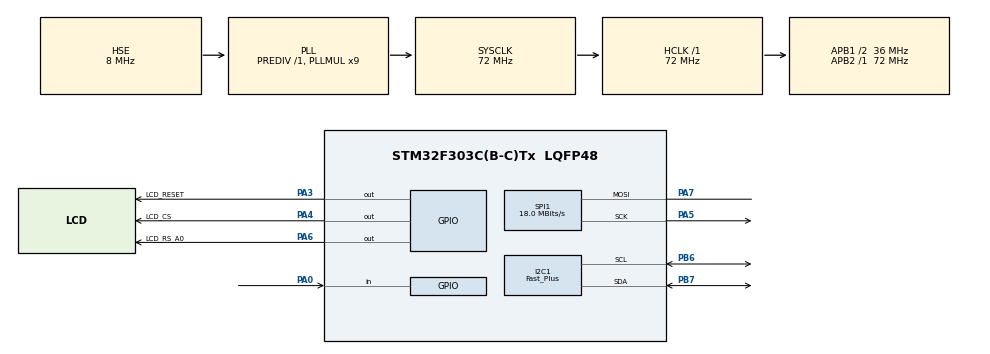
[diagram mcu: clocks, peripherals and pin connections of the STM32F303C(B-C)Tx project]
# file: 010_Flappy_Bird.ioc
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I2C1.I2C_Speed_Mode=I2C_Fast_Plus
I2C1.Timing=0x00000001
Mcu.Family=STM32F3
Mcu.Name=STM32F303C(B-C)Tx
Mcu.Package=LQFP48
NVIC.PriorityGroup=NVIC_PRIORITYGROUP_4
PA0.Signal=GPIO_Input
PA13.Mode=Trace_Asynchronous_SW
PA13.Signal=SYS_JTMS-SWDIO
PA14.Mode=Trace_Asynchronous_SW
PA14.Signal=SYS_JTCK-SWCLK
PA3.GPIO_Label=LCD_RESET
PA3.Signal=GPIO_Output
PA4.GPIO_Label=LCD_CS
PA4.Signal=GPIO_Output
PA5.Mode=Simplex_Bidirectional_Master
PA5.Signal=SPI1_SCK
PA6.GPIO_Label=LCD_RS_A0
PA6.Signal=GPIO_Output
PA7.Mode=Simplex_Bidirectional_Master
PA7.Signal=SPI1_MOSI
PB3.Mode=Trace_Asynchronous_SW
PB3.Signal=SYS_JTDO-TRACESWO
PB6.Mode=I2C
PB6.Signal=I2C1_SCL
PB7.Mode=I2C
PB7.Signal=I2C1_SDA
PF0-OSC_IN.Mode=HSE-External-Oscillator
PF0-OSC_IN.Signal=RCC_OSC_IN
PF1-OSC_OUT.Mode=HSE-External-Oscillator
PF1-OSC_OUT.Signal=RCC_OSC_OUT
ProjectManager.HeapSize=0x200
ProjectManager.StackSize=0x400
ProjectManager.TargetToolchain=STM32CubeIDE
RCC.AHBFreq_Value=72000000
RCC.APB1CLKDivider=RCC_HCLK_DIV2
RCC.APB1Freq_Value=36000000
RCC.APB1TimFreq_Value=72000000
RCC.APB2Freq_Value=72000000
RCC.APB2TimFreq_Value=72000000
RCC.CortexFreq_Value=72000000
RCC.HCLKFreq_Value=72000000
RCC.HSE_VALUE=8000000
RCC.HSI_VALUE=8000000
RCC.LSE_VALUE=32768
RCC.PLLMUL=RCC_PLL_MUL9
RCC.PLLSourceVirtual=RCC_PLLSOURCE_HSE
RCC.SYSCLKFreq_VALUE=72000000
RCC.SYSCLKSourceVirtual=RCC_SYSCLKSOURCE_PLLCLK
RCC.USBFreq_Value=72000000
SPI1.BaudRatePrescaler=SPI_BAUDRATEPRESCALER_4
SPI1.CalculateBaudRate=18.0 MBits/s
SPI1.DataSize=SPI_DATASIZE_8BIT
SPI1.Direction=SPI_DIRECTION_1LINE
SPI1.Mode=SPI_MODE_MASTER
SPI1.VirtualType=VM_MASTER
board=custom

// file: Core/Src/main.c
/* USER CODE BEGIN Header */
/**
  ******************************************************************************
  * @file           : main.c
  * @brief          : Main program body
  ******************************************************************************
  * @attention
  *
  * Copyright (c) 2024 STMicroelectronics.
  * All rights reserved.
  *
  * This software is licensed under terms that can be found in the LICENSE file
  * in the root directory of this software component.
  * If no LICENSE file comes with this software, it is provided AS-IS.
  *
  ******************************************************************************
  */
/* USER CODE END Header */
#include "main.h"

/* USER CODE BEGIN Includes */
#include <string.h>
#include <stdio.h>
#include "mpu6050.h"
#include "player.h"
#include "background.h"
#include "obstacle.h"
#include "text_mssg.h"

#include "../../GC9A01A/font.h"
#include "../../GC9A01A/GC9A01A.h"
/* USER CODE END Includes */

/* USER CODE BEGIN PTD */
#define DB_SIZE 					(15UL * 1024UL)

uint8_t bsp_db[DB_SIZE];
uint8_t bsp_wb[DB_SIZE];

bsp_lcd_t lcd_handle;
bsp_lcd_t *hlcd = &lcd_handle;

/* USER CODE END PTD */

I2C_HandleTypeDef hi2c1;
SPI_HandleTypeDef hspi1;

/* USER CODE BEGIN PV */
double degreex, degreey;
int collision_detected = false;
int countdown_complete = false;
/* USER CODE END PV */

void SystemClock_Config(void);
static void MX_GPIO_Init(void);
static void MX_SPI1_Init(void);
static void MX_I2C1_Init(void);
/* USER CODE BEGIN PFP */
void is_Collide(Obstacle *obstacle, Player *player);
void nano_lcd_Init(void);
void tick();
/* USER CODE END PFP */

/* USER CODE BEGIN 0 */
GamteState game_state ;
Player player;
Obstacle obstacle;

static void Player_ctor(Player* player, int player_x, int player_w, int player_y, int player_h) {
	player->x = player_x;
	player->w = player_w;
	player->y = player_y;
	player->h = player_h;
	player->score = 0;
}

static void Obstacle_ctor(Obstacle* obstacle, int obstacle_x, int obstacle_w, int obstacle_y, int obstacle_g,
                            int obstacle_s) {
	obstacle->x = obstacle_x;
	obstacle->w = obstacle_w;
	obstacle->y = obstacle_y;
	obstacle->h = 0;
	obstacle->g = obstacle_g;
	obstacle->speed  = obstacle_s;
	obstacle->passed = false;
}
/* USER CODE END 0 */

int main(void)
{

  /* USER CODE BEGIN 1 */
	static uint32_t current_time;
	current_time = HAL_GetTick();
  /* USER CODE END 1 */

  /* MCU Configuration--------------------------------------------------------*/

  /* Reset of all peripherals, Initializes the Flash interface and the Systick. */
  HAL_Init();

  /* Configure the system clock */
  SystemClock_Config();

  /* Initialize all configured peripherals */
  MX_GPIO_Init();
  MX_SPI1_Init();
  MX_I2C1_Init();
  /* USER CODE BEGIN 2 */
  Player_ctor(&player, 70, 30, 100, 30);
  Obstacle_ctor(&obstacle, 240, 30, 30, 80, 5);
  mpu6050_init();
  nano_lcd_Init();

  double prev_degreey = degreey; // Initialize previous angle variable
  static double angle_delta = 0.0; // Variable to store the angle change
  /* USER CODE END 2 */

  /* Infinite loop */
  while (1)
  {

    /* USER CODE BEGIN 3 */
  	mpu6050_read();

		if(HAL_GetTick() - current_time >= 5) {
			current_time = HAL_GetTick();

			angle_delta = degreey - prev_degreey;
			prev_degreey = degreey;
			double smoothing_factor = 6;

			player.y -= smoothing_factor * angle_delta;
			player.y += GRAVITY_PULL;

			if (player.y <= PLAYER_ySTART_POINT) {
				player.y = PLAYER_ySTART_POINT;
			} else if (player.y >= PLAYER_yEND_POINT) {
				player.y = PLAYER_yEND_POINT;
			}
			tick();
		}
  }
  /* USER CODE END 3 */
}

void SystemClock_Config(void)
{
  RCC_OscInitTypeDef RCC_OscInitStruct = {0};
  RCC_ClkInitTypeDef RCC_ClkInitStruct = {0};
  RCC_PeriphCLKInitTypeDef PeriphClkInit = {0};

  /** Initializes the RCC Oscillators according to the specified parameters
  * in the RCC_OscInitTypeDef structure.
  */
  RCC_OscInitStruct.OscillatorType = RCC_OSCILLATORTYPE_HSI|RCC_OSCILLATORTYPE_HSE;
  RCC_OscInitStruct.HSEState = RCC_HSE_ON;
  RCC_OscInitStruct.HSEPredivValue = RCC_HSE_PREDIV_DIV1;
  RCC_OscInitStruct.HSIState = RCC_HSI_ON;
  RCC_OscInitStruct.HSICalibrationValue = RCC_HSICALIBRATION_DEFAULT;
  RCC_OscInitStruct.PLL.PLLState = RCC_PLL_ON;
  RCC_OscInitStruct.PLL.PLLSource = RCC_PLLSOURCE_HSE;
  RCC_OscInitStruct.PLL.PLLMUL = RCC_PLL_MUL9;
  if (HAL_RCC_OscConfig(&RCC_OscInitStruct) != HAL_OK)
  {
    Error_Handler();
  }

  /** Initializes the CPU, AHB and APB buses clocks
  */
  RCC_ClkInitStruct.ClockType = RCC_CLOCKTYPE_HCLK|RCC_CLOCKTYPE_SYSCLK
                              |RCC_CLOCKTYPE_PCLK1|RCC_CLOCKTYPE_PCLK2;
  RCC_ClkInitStruct.SYSCLKSource = RCC_SYSCLKSOURCE_PLLCLK;
  RCC_ClkInitStruct.AHBCLKDivider = RCC_SYSCLK_DIV1;
  RCC_ClkInitStruct.APB1CLKDivider = RCC_HCLK_DIV2;
  RCC_ClkInitStruct.APB2CLKDivider = RCC_HCLK_DIV1;

  if (HAL_RCC_ClockConfig(&RCC_ClkInitStruct, FLASH_LATENCY_2) != HAL_OK)
  {
    Error_Handler();
  }
  PeriphClkInit.PeriphClockSelection = RCC_PERIPHCLK_I2C1;
  PeriphClkInit.I2c1ClockSelection = RCC_I2C1CLKSOURCE_HSI;
  if (HAL_RCCEx_PeriphCLKConfig(&PeriphClkInit) != HAL_OK)
  {
    Error_Handler();
  }
}

static void MX_I2C1_Init(void)
{

  hi2c1.Instance = I2C1;
  hi2c1.Init.Timing = 0x00000001;
  hi2c1.Init.OwnAddress1 = 0;
  hi2c1.Init.AddressingMode = I2C_ADDRESSINGMODE_7BIT;
  hi2c1.Init.DualAddressMode = I2C_DUALADDRESS_DISABLE;
  hi2c1.Init.OwnAddress2 = 0;
  hi2c1.Init.OwnAddress2Masks = I2C_OA2_NOMASK;
  hi2c1.Init.GeneralCallMode = I2C_GENERALCALL_DISABLE;
  hi2c1.Init.NoStretchMode = I2C_NOSTRETCH_DISABLE;
  if (HAL_I2C_Init(&hi2c1) != HAL_OK)
  {
    Error_Handler();
  }

  /** Configure Analogue filter
  */
  if (HAL_I2CEx_ConfigAnalogFilter(&hi2c1, I2C_ANALOGFILTER_ENABLE) != HAL_OK)
  {
    Error_Handler();
  }

  /** Configure Digital filter
  */
  if (HAL_I2CEx_ConfigDigitalFilter(&hi2c1, 0) != HAL_OK)
  {
    Error_Handler();
  }

  /** I2C Fast mode Plus enable
  */
  __HAL_SYSCFG_FASTMODEPLUS_ENABLE(I2C_FASTMODEPLUS_I2C1);

}

static void MX_SPI1_Init(void)
{

  /* SPI1 parameter configuration*/
  hspi1.Instance = SPI1;
  hspi1.Init.Mode = SPI_MODE_MASTER;
  hspi1.Init.Direction = SPI_DIRECTION_1LINE;
  hspi1.Init.DataSize = SPI_DATASIZE_8BIT;
  hspi1.Init.CLKPolarity = SPI_POLARITY_LOW;
  hspi1.Init.CLKPhase = SPI_PHASE_1EDGE;
  hspi1.Init.NSS = SPI_NSS_SOFT;
  hspi1.Init.BaudRatePrescaler = SPI_BAUDRATEPRESCALER_4;
  hspi1.Init.FirstBit = SPI_FIRSTBIT_MSB;
  hspi1.Init.TIMode = SPI_TIMODE_DISABLE;
  hspi1.Init.CRCCalculation = SPI_CRCCALCULATION_DISABLE;
  hspi1.Init.CRCPolynomial = 7;
  hspi1.Init.CRCLength = SPI_CRC_LENGTH_DATASIZE;
  hspi1.Init.NSSPMode = SPI_NSS_PULSE_ENABLE;
  if (HAL_SPI_Init(&hspi1) != HAL_OK)
  {
    Error_Handler();
  }

}

static void MX_GPIO_Init(void)
{
  GPIO_InitTypeDef GPIO_InitStruct = {0};

  /* GPIO Ports Clock Enable */
  __HAL_RCC_GPIOF_CLK_ENABLE();
  __HAL_RCC_GPIOA_CLK_ENABLE();
  __HAL_RCC_GPIOB_CLK_ENABLE();

  /*Configure GPIO pin Output Level */
  HAL_GPIO_WritePin(GPIOA, LCD_RESET_Pin|LCD_CS_Pin|LCD_RS_A0_Pin, GPIO_PIN_RESET);

  /*Configure GPIO pin : PA0 */
  GPIO_InitStruct.Pin = GPIO_PIN_0;
  GPIO_InitStruct.Mode = GPIO_MODE_INPUT;
  GPIO_InitStruct.Pull = GPIO_NOPULL;
  HAL_GPIO_Init(GPIOA, &GPIO_InitStruct);

  /*Configure GPIO pins : LCD_RESET_Pin LCD_CS_Pin LCD_RS_A0_Pin */
  GPIO_InitStruct.Pin = LCD_RESET_Pin|LCD_CS_Pin|LCD_RS_A0_Pin;
  GPIO_InitStruct.Mode = GPIO_MODE_OUTPUT_PP;
  GPIO_InitStruct.Pull = GPIO_NOPULL;
  GPIO_InitStruct.Speed = GPIO_SPEED_FREQ_LOW;
  HAL_GPIO_Init(GPIOA, &GPIO_InitStruct);

}

/* USER CODE BEGIN 4 */
/**
  * @brief Initializes the Nano LCD display.
  * @param None
  * @retval None
  */
void nano_lcd_Init(void) {
	gc9a01a_hw_reset();
	gc9a01a_config2();
	lcd_area_t area;
	area.x1 = 0;
	area.x2 = 240;
	area.y1 = 0;
	area.y2 = 240;
	gc9a01a_set_display_area(&area);
	gc9a01a_set_orientation(LANDSCAPE);

	hlcd->draw_buffer1 = bsp_db;
	hlcd->draw_buffer2 = bsp_wb;
	hlcd->buff_to_draw = NULL;
	hlcd->buff_to_flush = NULL;
	hlcd->db_size = DB_SIZE;

	flappy_game_set_back_ground(hlcd);
}

/**
  * @brief Updates the game state based on events and conditions.
  * @param None
  * @retval None
  */
void tick() {
	switch (game_state) {
		case GAME_INIT: {
			GPIO_PinState pinState = HAL_GPIO_ReadPin(GPIOA, GPIO_PIN_0);
			game_init_mssg(hlcd);

			if (pinState == GPIO_PIN_SET) {
				HAL_Delay(25);
				flappy_game_set_back_ground(hlcd);
				game_state = GAME_PRESTART;
			}
		}
		break;

		case GAME_PRESTART: {
			move_player(hlcd, player.y);
			render_gamestart_countdown(hlcd);
			if(countdown_complete == true) {
				game_state = GAME_START;
			}
		}
		break;

		case GAME_START: {
			is_Collide(&obstacle, &player);
			if(collision_detected == true) {
				set_gameover_background(hlcd);
				game_state = GAME_OVER;
			} else {
				obstacle.speed = get_obstacle_speed(player.score);
				obstacle.x -= obstacle.speed;
				move_player(hlcd, player.y);

				if(obstacle.x >= 0) {
					move_obstacle(hlcd,obstacle.x);
				}else{
					bsp_lcd_fill_rect(hlcd, BACKGROUND , 0, 40, 0, 240);
					obstacle.x = 240;
				}
				player_show_score(&player);
			}
		}
		break;

		case GAME_OVER: {
			collision_detected = false;
			game_over_mssg(hlcd);
			GPIO_PinState pinState = HAL_GPIO_ReadPin(GPIOA, GPIO_PIN_0);
			if (pinState == GPIO_PIN_SET) {
				Player_ctor(&player, 70, 30, 100, 30);
				Obstacle_ctor(&obstacle, 240, 30, 30, 80, 5);
				flappy_game_set_back_ground(hlcd);
				game_state = GAME_PRESTART;
			}
		}
		break;
	}
}

/**
  * @brief Checks for collision between an obstacle and the player.
  * @param obstacle: Pointer to the Obstacle struct containing obstacle information.
  * @param player: Pointer to the Player struct containing player information.
  * @retval None
  */
void is_Collide(Obstacle *obstacle, Player *player) {
	int player_left = player->x;
	int player_right = player->x + player->w  -5;
	int player_top = player->y;
	int player_bottom = player->y + player->h-5;

	int obstacle_left = obstacle->x;
	int obstacle_right = obstacle->x + obstacle->w;

	obstacle->h = generate_obstacle_height(obstacle->x);
	int obstacle_bottom = OBSTACLE_ySTART_POINT + obstacle->h -5;

	if (player_right  >= obstacle_left && player_left <= obstacle_right ){
		if( (player_top  < obstacle_bottom) || (player_bottom > (obstacle_bottom + obstacle->g +10))) {
			collision_detected = true;
		} else if (!obstacle->passed) {  // Only update score if the obstacle hasn't been passed
				player->score += 1;
				obstacle->passed = true;  // Mark the obstacle as passed
		}
	} else {
		obstacle->passed = false;   // Reset the flag when the player is not near the obstacle
	}
}

/* USER CODE END 4 */

void Error_Handler(void)
{
  __disable_irq();
  while (1)
  {
  }
}
